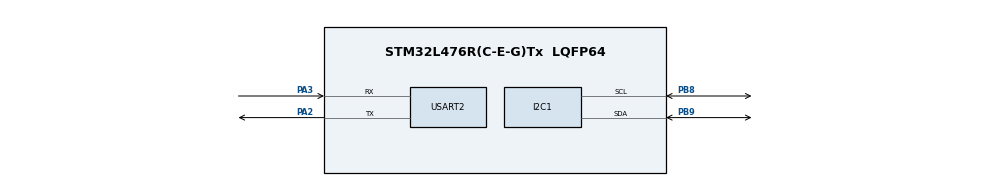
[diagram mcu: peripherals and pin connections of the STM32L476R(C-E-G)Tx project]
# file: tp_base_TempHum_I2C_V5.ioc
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Mcu.Family=STM32L4
Mcu.Name=STM32L476R(C-E-G)Tx
Mcu.Package=LQFP64
NVIC.PriorityGroup=NVIC_PRIORITYGROUP_4
PA13\ (JTMS-SWDIO).Mode=Serial_Wire
PA13\ (JTMS-SWDIO).Signal=SYS_JTMS-SWDIO
PA14\ (JTCK-SWCLK).Mode=Serial_Wire
PA14\ (JTCK-SWCLK).Signal=SYS_JTCK-SWCLK
PA2.Mode=Asynchronous
PA2.Signal=USART2_TX
PA3.Mode=Asynchronous
PA3.Signal=USART2_RX
PB3\ (JTDO-TRACESWO).Signal=SYS_JTDO-SWO
PB8.Mode=I2C
PB8.Signal=I2C1_SCL
PB9.Mode=I2C
PB9.Signal=I2C1_SDA
PC14-OSC32_IN\ (PC14).Mode=LSE-External-Oscillator
PC14-OSC32_IN\ (PC14).Signal=RCC_OSC32_IN
PC15-OSC32_OUT\ (PC15).Mode=LSE-External-Oscillator
PC15-OSC32_OUT\ (PC15).Signal=RCC_OSC32_OUT
PH0-OSC_IN\ (PH0).Mode=HSE-External-Oscillator
PH0-OSC_IN\ (PH0).Signal=RCC_OSC_IN
PH1-OSC_OUT\ (PH1).Mode=HSE-External-Oscillator
PH1-OSC_OUT\ (PH1).Signal=RCC_OSC_OUT
ProjectManager.HeapSize=0x200
ProjectManager.StackSize=0x400
ProjectManager.TargetToolchain=STM32CubeIDE
RCC.HSE_VALUE=8000000
RCC.HSI_VALUE=16000000
RCC.MSI_VALUE=4000000
RCC.VCOOutputFreq_Value=32000000
USART2.VirtualMode-Asynchronous=VM_ASYNC
VP_TIM2_VS_ClockSourceINT.Mode=Internal
board=custom

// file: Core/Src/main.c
/* USER CODE BEGIN Header */
/**
  ******************************************************************************
  * @file           : main.c
  * @brief          : Main program body
  ******************************************************************************
  * @attention
  *
  * Copyright (c) 2022 STMicroelectronics.
  * All rights reserved.
  *
  * This software is licensed under terms that can be found in the LICENSE file
  * in the root directory of this software component.
  * If no LICENSE file comes with this software, it is provided AS-IS.
  *
  ******************************************************************************
  */
/* USER CODE END Header */
#include "main.h"
#include "i2c.h"
#include "tim.h"
#include "usart.h"
#include "gpio.h"

#include "lib_lcd.h"
#include "math.h"
#include "string.h"
#include "caracter.h"

/* USER CODE BEGIN PM */

static rgb_lcd LCD_Data;

/* USER CODE END PM */

void SystemClock_Config(void);

/* USER CODE BEGIN PFP */

void HAL_Delay_Micro(uint32_t us);
void Mesure_Temp_Humi_SHT31(double Converted[]);

/* USER CODE END PFP */

int main(void)
{

  /* MCU Configuration--------------------------------------------------------*/

  /* Reset of all peripherals, Initializes the Flash interface and the Systick. */

  HAL_Init();

  /* Configure the system clock */

  SystemClock_Config();

  /* Initialize all configured peripherals */

  MX_GPIO_Init();
  MX_I2C1_Init();
  MX_TIM2_Init();
  MX_USART2_UART_Init();

  /* USER CODE BEGIN 2 */

  double Tab[2] = {0};
  lcd_init(&hi2c1, &LCD_Data);
  clearlcd();

  /* USER CODE END 2 */

  /* Infinite loop */
  while (1)
  {

	  Mesure_Temp_Humi_SHT31(Tab);
	  HAL_Delay(2000);

  }
}

void SystemClock_Config(void)
{
  RCC_OscInitTypeDef RCC_OscInitStruct = {0};
  RCC_ClkInitTypeDef RCC_ClkInitStruct = {0};

  /** Configure the main internal regulator output voltage
  */
  if (HAL_PWREx_ControlVoltageScaling(PWR_REGULATOR_VOLTAGE_SCALE1) != HAL_OK)
  {
    Error_Handler();
  }
  /** Configure LSE Drive Capability
  */
  HAL_PWR_EnableBkUpAccess();
  __HAL_RCC_LSEDRIVE_CONFIG(RCC_LSEDRIVE_LOW);
  /** Initializes the RCC Oscillators according to the specified parameters
  * in the RCC_OscInitTypeDef structure.
  */
  RCC_OscInitStruct.OscillatorType = RCC_OSCILLATORTYPE_LSE|RCC_OSCILLATORTYPE_MSI;
  RCC_OscInitStruct.LSEState = RCC_LSE_ON;
  RCC_OscInitStruct.MSIState = RCC_MSI_ON;
  RCC_OscInitStruct.MSICalibrationValue = 0;
  RCC_OscInitStruct.MSIClockRange = RCC_MSIRANGE_6;
  RCC_OscInitStruct.PLL.PLLState = RCC_PLL_NONE;
  if (HAL_RCC_OscConfig(&RCC_OscInitStruct) != HAL_OK)
  {
    Error_Handler();
  }
  /** Initializes the CPU, AHB and APB buses clocks
  */
  RCC_ClkInitStruct.ClockType = RCC_CLOCKTYPE_HCLK|RCC_CLOCKTYPE_SYSCLK
                              |RCC_CLOCKTYPE_PCLK1|RCC_CLOCKTYPE_PCLK2;
  RCC_ClkInitStruct.SYSCLKSource = RCC_SYSCLKSOURCE_MSI;
  RCC_ClkInitStruct.AHBCLKDivider = RCC_SYSCLK_DIV1;
  RCC_ClkInitStruct.APB1CLKDivider = RCC_HCLK_DIV1;
  RCC_ClkInitStruct.APB2CLKDivider = RCC_HCLK_DIV1;

  if (HAL_RCC_ClockConfig(&RCC_ClkInitStruct, FLASH_LATENCY_0) != HAL_OK)
  {
    Error_Handler();
  }
  /** Enable MSI Auto calibration
  */
  HAL_RCCEx_EnableMSIPLLMode();
}

/* USER CODE BEGIN 4 */

void Mesure_Temp_Humi_SHT31(double Val[2])
{
	HAL_StatusTypeDef Ready;

	uint8_t MSB_comm = 0x24;
	uint8_t LSB_comm = 0x00;
	uint8_t Info[2] = {MSB_comm,LSB_comm};
	uint8_t Converted[6] = {0};

	uint16_t Conca_T = 0;
	uint16_t Conca_H = 0;
	uint16_t Sensor_Adress = 0x44<<1;

	char T_unit[5];
	char H_unit[5];

	//Adressage
	Ready = HAL_I2C_Master_Transmit(&hi2c1, Sensor_Adress, Info, 2, 1000);

	HAL_Delay(20); //Attente entre mesures

	//Réponse du capteur
	Ready = HAL_I2C_Master_Receive(&hi2c1, Sensor_Adress, Converted, 6, 1000);

	//Conversion des données

	Conca_T = (Converted[0] << 8) | (Converted[1]);
	Val[0] = -45 + (175 *(Conca_T))/(pow(2,16) - 1);

	Conca_H = (Converted[3] << 8) | (Converted[4]);
	Val[1] = 100 * (Conca_H)/(pow(2,16) - 1);

	reglagecouleur(100,250,100);

	FloatToStr(Val[0],T_unit,2);
	FloatToStr(Val[1],H_unit,2);

	//Affichage de la température
	lcd_position(&hi2c1,0,0); //Ligne 1
	lcd_print(&hi2c1,"Temp. = ");
	lcd_print(&hi2c1,T_unit);
	lcd_write(&hi2c1,0xDF); //Correspond au °
	lcd_print(&hi2c1,"C");

	//Affichage de l'humidité
	lcd_position(&hi2c1,0,1); //Ligne 2
	lcd_print(&hi2c1,"Hum. = ");
	lcd_print(&hi2c1,H_unit);
	lcd_print(&hi2c1," %");
}

void HAL_Delay_Micro(uint32_t us)
{
	__HAL_TIM_SET_COUNTER(&htim2,0);
	 HAL_TIM_Base_Start(&htim2);
	 while (us > __HAL_TIM_GET_COUNTER(&htim2) );
	 HAL_TIM_Base_Stop(&htim2);
}
/* USER CODE END 4 */

void Error_Handler(void)
{
  __disable_irq();
  while (1)
  {
  }
}
